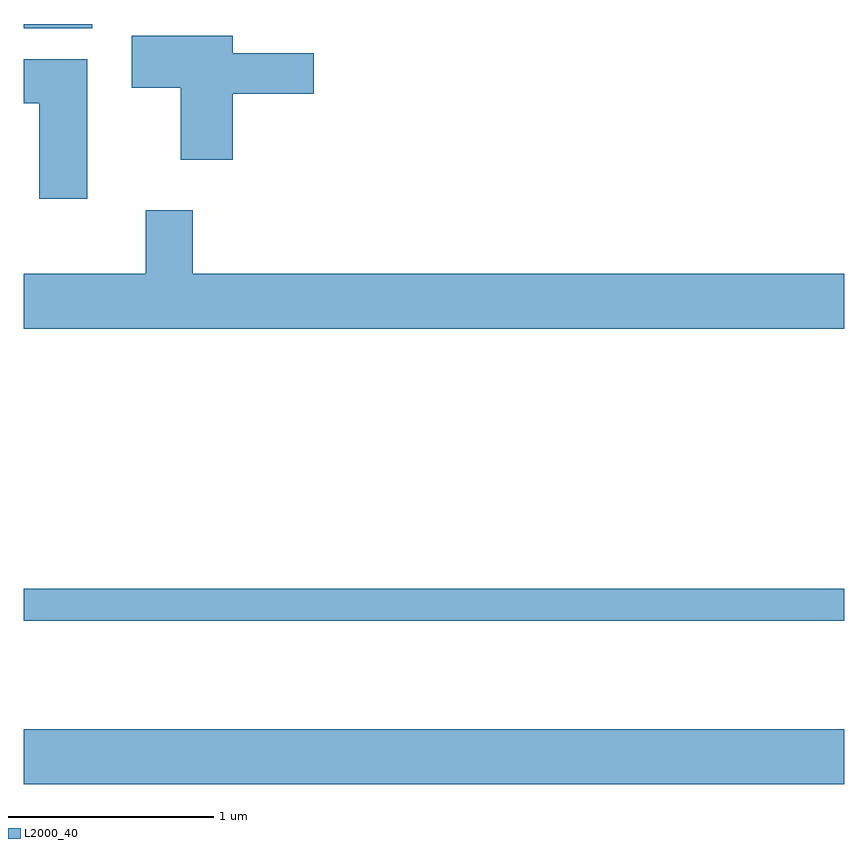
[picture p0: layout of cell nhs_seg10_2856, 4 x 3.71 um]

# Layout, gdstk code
import gdstk
lib = gdstk.Library(unit=1e-6, precision=1e-09)
def R(c, l, rs):  # rectangles x0, y0, x1, y1
    for r in rs: c.add(gdstk.rectangle(r[:2], r[2:], *l))
def P(c, l, *ps):  # polygons
    for p in ps: c.add(gdstk.Polygon(p, *l))
L2000_40 = (2000, 40)

nhs_seg10_2856 = lib.new_cell('nhs_seg10_2856')
R(nhs_seg10_2856, L2000_40, [(269.611,2102.816,273.611,2103.084), (269.611,2103.611,273.611,2103.769), (269.611,2106.501,269.944,2106.522)])
P(nhs_seg10_2856, L2000_40, [(270.629,2106.181),(271.024,2106.181),(271.024,2106.379),(270.629,2106.379),(270.629,2106.464),(270.136,2106.464),(270.136,2106.211),(270.376,2106.211),(270.376,2105.861),(270.629,2105.861)],
  [(269.919,2106.349),(269.611,2106.349),(269.611,2106.136),(269.686,2106.136),(269.686,2105.671),(269.919,2105.671)],
  [(273.611,2105.304),(270.434,2105.304),(270.434,2105.614),(270.206,2105.614),(270.206,2105.304),(269.611,2105.304),(269.611,2105.036),(273.611,2105.036)])

lib.write_gds('nhs_seg10_2856.gds')
